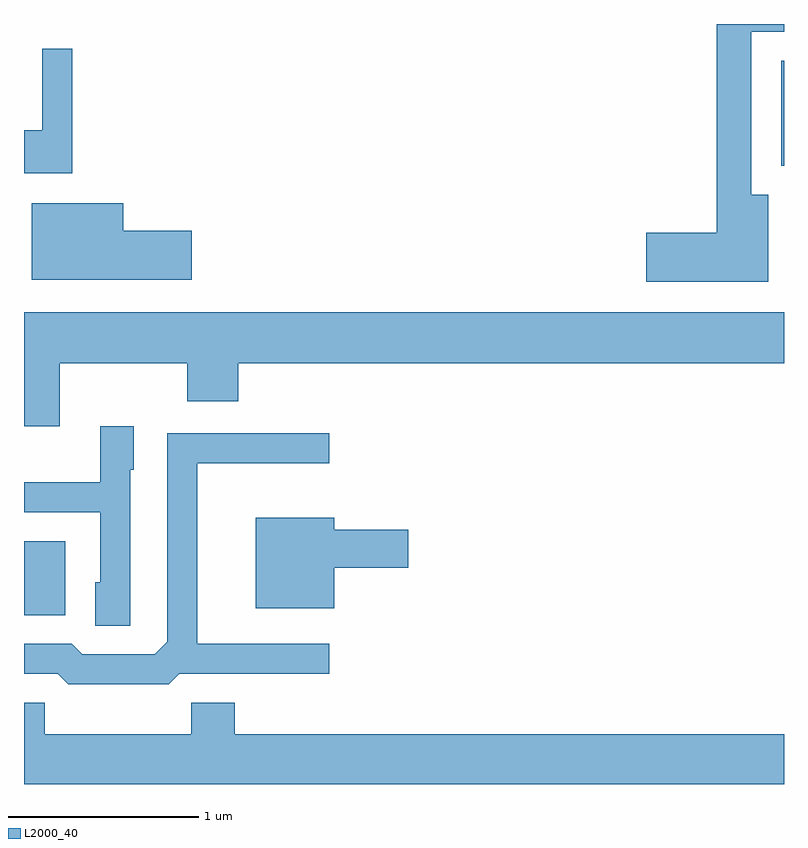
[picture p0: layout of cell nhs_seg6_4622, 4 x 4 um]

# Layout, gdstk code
import gdstk
lib = gdstk.Library(unit=1e-6, precision=1e-09)
def R(c, l, rs):  # rectangles x0, y0, x1, y1
    for r in rs: c.add(gdstk.rectangle(r[:2], r[2:], *l))
def P(c, l, *ps):  # polygons
    for p in ps: c.add(gdstk.Polygon(p, *l))
L2000_40 = (2000, 40)

nhs_seg6_4622 = lib.new_cell('nhs_seg6_4622')
R(nhs_seg6_4622, L2000_40, [(325.611,1653.051,325.829,1653.439), (329.596,1655.416,329.611,1655.969)])
P(nhs_seg6_4622, L2000_40, [(329.529,1655.264),(329.439,1655.264),(329.439,1656.121),(329.611,1656.121),(329.611,1656.162),(329.256,1656.162),(329.256,1655.064),(328.886,1655.064),(328.886,1654.806),(329.529,1654.806)],
  [(325.864,1656.033),(325.706,1656.033),(325.706,1655.604),(325.611,1655.604),(325.611,1655.376),(325.864,1655.376)],
  [(326.494,1655.074),(326.134,1655.074),(326.134,1655.219),(325.651,1655.219),(325.651,1654.816),(326.494,1654.816)],
  [(325.799,1654.376),(326.471,1654.376),(326.471,1654.176),(326.739,1654.176),(326.739,1654.376),(329.611,1654.376),(329.611,1654.644),(325.611,1654.644),(325.611,1654.046),(325.799,1654.046)],
  [(326.169,1653.816),(326.189,1653.816),(326.189,1654.044),(326.011,1654.044),(326.011,1653.749),(325.611,1653.749),(325.611,1653.591),(326.011,1653.591),(326.011,1653.224),(325.986,1653.224),(325.986,1652.996),(326.169,1652.996)],
  [(326.427,1652.741),(327.218,1652.741),(327.218,1652.899),(326.524,1652.899),(326.524,1653.851),(327.218,1653.851),(327.218,1654.009),(326.366,1654.009),(326.366,1652.912),(326.299,1652.844),(325.917,1652.844),(325.862,1652.899),(325.611,1652.899),(325.611,1652.741),(325.789,1652.741),(325.844,1652.686),(326.372,1652.686)],
  [(327.244,1653.301),(327.634,1653.301),(327.634,1653.499),(327.244,1653.499),(327.244,1653.564),(326.831,1653.564),(326.831,1653.086),(327.244,1653.086)],
  [(329.611,1652.424),(326.719,1652.424),(326.719,1652.589),(326.491,1652.589),(326.491,1652.424),(325.719,1652.424),(325.719,1652.589),(325.611,1652.589),(325.611,1652.162),(329.611,1652.162)])

lib.write_gds('nhs_seg6_4622.gds')
